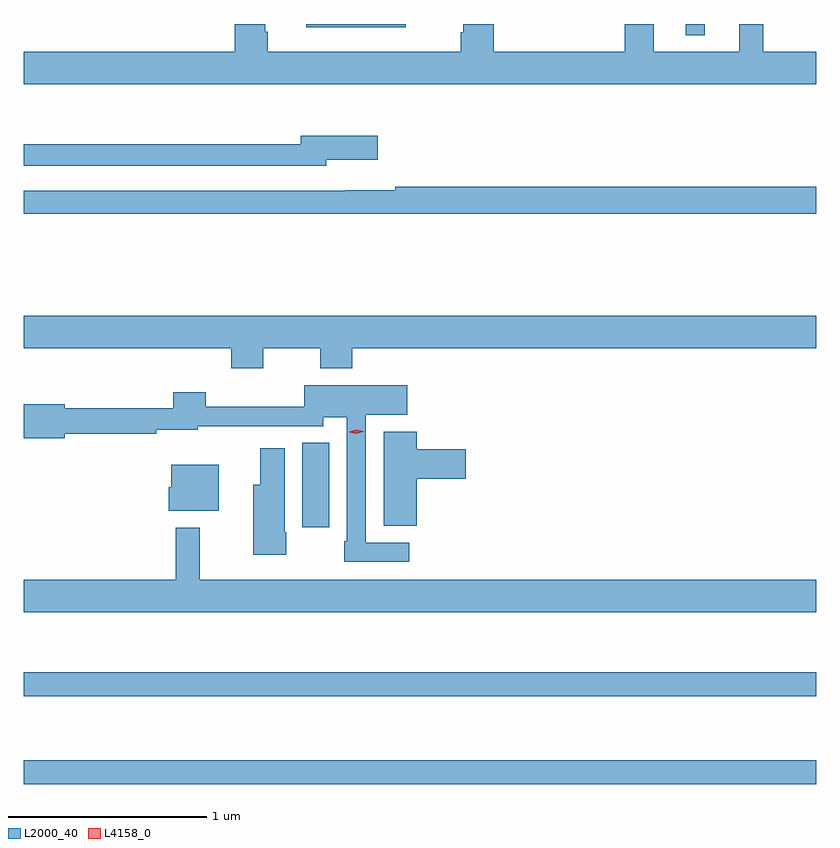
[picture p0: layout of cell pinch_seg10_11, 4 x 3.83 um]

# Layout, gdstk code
import gdstk
lib = gdstk.Library(unit=1e-6, precision=1e-09)
def R(c, l, rs):  # rectangles x0, y0, x1, y1
    for r in rs: c.add(gdstk.rectangle(r[:2], r[2:], *l))
def P(c, l, *ps):  # polygons
    for p in ps: c.add(gdstk.Polygon(p, *l))
L2000_40 = (2000, 40)
L4158_0 = (4158, 0)

pinch_seg10_11 = lib.new_cell('pinch_seg10_11')
R(pinch_seg10_11, L2000_40, [(1047.505,1251.498,1051.505,1251.619), (1047.505,1251.942,1051.505,1252.063), (1048.91,1252.794,1049.047,1253.219), (1050.845,1255.277,1050.943,1255.333), (1048.931,1255.316,1049.434,1255.333)])
P(pinch_seg10_11, L2000_40, [(1051.505,1255.192),(1051.238,1255.192),(1051.238,1255.333),(1051.115,1255.333),(1051.115,1255.192),(1050.685,1255.192),(1050.685,1255.333),(1050.538,1255.333),(1050.538,1255.192),(1049.876,1255.192),(1049.876,1255.333),(1049.723,1255.333),(1049.723,1255.292),(1049.711,1255.292),(1049.711,1255.192),(1048.736,1255.192),(1048.736,1255.293),(1048.723,1255.293),(1048.723,1255.333),(1048.571,1255.333),(1048.571,1255.192),(1047.505,1255.192),(1047.505,1255.028),(1051.505,1255.028)],
  [(1049.032,1254.647),(1049.293,1254.647),(1049.293,1254.769),(1048.904,1254.769),(1048.904,1254.727),(1047.505,1254.727),(1047.505,1254.618),(1049.032,1254.618)],
  [(1051.505,1254.512),(1049.38,1254.512),(1049.38,1254.493),(1049.128,1254.493),(1049.128,1254.492),(1047.505,1254.492),(1047.505,1254.376),(1051.505,1254.376)],
  [(1048.713,1253.696),(1049.002,1253.696),(1049.002,1253.597),(1049.162,1253.597),(1049.162,1253.696),(1051.505,1253.696),(1051.505,1253.86),(1047.505,1253.86),(1047.505,1253.696),(1048.553,1253.696),(1048.553,1253.597),(1048.713,1253.597)],
  [(1049.452,1252.716),(1049.232,1252.716),(1049.232,1253.36),(1049.44,1253.36),(1049.44,1253.509),(1048.92,1253.509),(1048.92,1253.402),(1048.424,1253.402),(1048.424,1253.476),(1048.259,1253.476),(1048.259,1253.395),(1047.712,1253.395),(1047.712,1253.413),(1047.505,1253.413),(1047.505,1253.243),(1047.712,1253.243),(1047.712,1253.266),(1048.175,1253.266),(1048.175,1253.285),(1048.383,1253.285),(1048.383,1253.303),(1048.604,1253.303),(1048.604,1253.304),(1049.016,1253.304),(1049.016,1253.348),(1049.136,1253.348),(1049.136,1252.723),(1049.124,1252.723),(1049.124,1252.62),(1049.452,1252.62)],
  [(1049.488,1253.039),(1049.737,1253.039),(1049.737,1253.186),(1049.488,1253.186),(1049.488,1253.275),(1049.321,1253.275),(1049.321,1252.801),(1049.488,1252.801)],
  [(1048.83,1252.768),(1048.822,1252.768),(1048.822,1253.191),(1048.7,1253.191),(1048.7,1253.008),(1048.664,1253.008),(1048.664,1252.656),(1048.83,1252.656)],
  [(1048.489,1253.11),(1048.25,1253.11),(1048.25,1252.995),(1048.238,1252.995),(1048.238,1252.877),(1048.489,1252.877)],
  [(1051.505,1252.528),(1048.394,1252.528),(1048.394,1252.792),(1048.273,1252.792),(1048.273,1252.528),(1047.505,1252.528),(1047.505,1252.364),(1051.505,1252.364)])
P(pinch_seg10_11, L4158_0, [(1049.184,1253.266),(1049.149,1253.274),(1049.148,1253.275),(1049.149,1253.275),(1049.183,1253.286),(1049.218,1253.277),(1049.218,1253.277),(1049.218,1253.276)])

lib.write_gds('pinch_seg10_11.gds')
